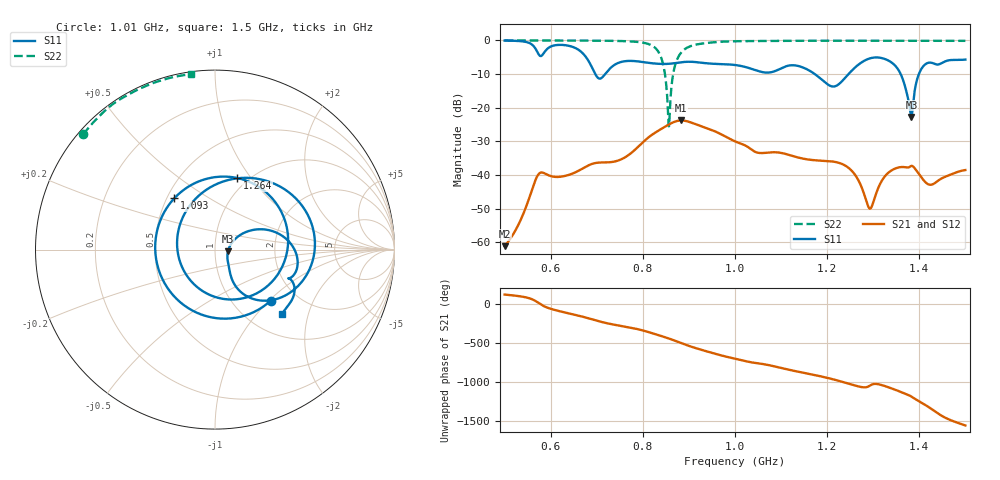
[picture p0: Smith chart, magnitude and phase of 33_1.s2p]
! TOUCHSTONE file generated by CST MICROWAVE STUDIO
! Date and time: Sat Nov 14 20:41:55 2020
! Project name: Scenario_1_Planar_Body_Tissue_Out_of_Line_v2.cst
! Parameters = {dy1=-207.6; L_HA=400; Ltissue=700; MT=2.54; Rad_Dielectric=30; Rad_Lower=7.3; Rad_Upper=30; Wtissue=700; a_HA=580; a_WG=246; b_HA=500; b_WG=121; c_HA=0; c_WG=187; d_feed=85; dx1=173; h_feed=15; h_lower=18; h_upper=40; hfat=3; hgap=25; hmuscle=50; hskin=1.5}
! Header version: 2018
! Port assignment regex: !\s*Touchstone port\s*([0-9]+)\s*=\s*(CST MWS port|CST DS port)\s*([0-9]+|Zmin|Zmax)\s*\(\"(.*)\"\)(\s*mode\s*([0-9]+))?.*
! Touchstone port assignment:
! Touchstone port 1 = CST MWS port 1 ("")
! Touchstone port 2 = CST MWS port 2 ("")
# GHz S DB R 50
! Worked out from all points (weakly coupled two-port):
!   1003 points, 500 MHz to 1.5 GHz, reference 50 ohm
!   highest |S21| = -23.80 dB at 883 MHz (marker M1); lowest = -61.2 dB at 500 MHz (marker M2)
!   lowest |S11| = -22.7 dB at 1.383 GHz (marker M3), VSWR 1.16, Z = 57.8 - j0.998 ohm
!   |S11| at or under -10 dB: 696.8 MHz to 718.2 MHz (21.41 MHz wide, 3.03 % of centre); 1.173 GHz to 1.246 GHz (73.3 MHz wide, 6.06 % of centre); 1.36 GHz to 1.399 GHz (39.5 MHz wide, 2.86 % of centre)
!   |S22| runs from -25.5 to 0.0 dB; largest |S21 - S12| = 1e-05
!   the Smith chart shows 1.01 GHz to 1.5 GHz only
!   S11 on the Smith chart (normalised r, x): 1.01 GHz: 1.48, -1.02; 1.093 GHz: 0.55, +0.36; 1.264 GHz: 0.89, +0.85; 1.5 GHz: 1.40, -1.38
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0.5  -0.05 -121.8  -61.19 127.8  -61.20 127.8  -0.01 151.1
0.575  -4.35 -163.3  -39.59 14.3  -39.59 14.3  -0.01 146.0
0.628  -1.36 171.6  -40.39 -100.0  -40.39 -100.0  -0.03 141.9
0.667  -3.48 111.4  -38.27 -154.7  -38.27 -154.7  -0.04 138.4
0.694  -9.26 28.1  -36.56 160.7  -36.56 160.7  -0.06 135.5
0.72  -9.69 -100.1  -36.28 120.2  -36.28 120.2  -0.10 132.3
0.763  -6.15 161.0  -34.63 71.9  -34.63 71.9  -0.22 124.8
0.834  -6.95 24.8  -26.81 -36.7  -26.81 -36.7  -3.44 81.9
0.857  -6.95 -34.6  -24.95 -81.1  -24.95 -81.1  -25.51 -71.0
0.883  -6.50 -109.9  -23.80 -138.4  -23.80 -138.4  -3.63 -178.8
0.938  -6.79 99.0  -26.04 115.0  -26.04 115.0  -0.77 151.9
1  -7.30 -23.9  -30.01 19.3  -30.01 19.3  -0.24 140.2
1.01  -7.51 -42.6  -30.57 6.2  -30.56 6.2  -0.22 138.9
1.093  -8.76 128.5  -33.31 -90.2  -33.31 -90.2  -0.13 130.4
1.167  -9.43 -45.8  -35.56 175.5  -35.56 175.5  -0.08 124.2
1.219  -13.55 178.3  -36.18 103.7  -36.18 103.7  -0.09 120.1
1.264  -7.63 72.9  -40.68 27.2  -40.68 27.2  -0.09 116.8
1.293  -5.33 27.8  -50.03 32.4  -50.04 32.4  -0.09 114.6
1.334  -6.07 -25.9  -39.21 8.1  -39.21 8.1  -0.09 111.5
1.383  -22.73 -6.8  -37.32 -110.1  -37.32 -110.1  -0.09 107.7
1.412  -7.21 1.7  -42.00 145.8  -42.00 145.8  -0.09 105.4
1.5  -5.70 -43.9  -38.55 -122.7  -38.55 -122.7  -0.13 97.9
